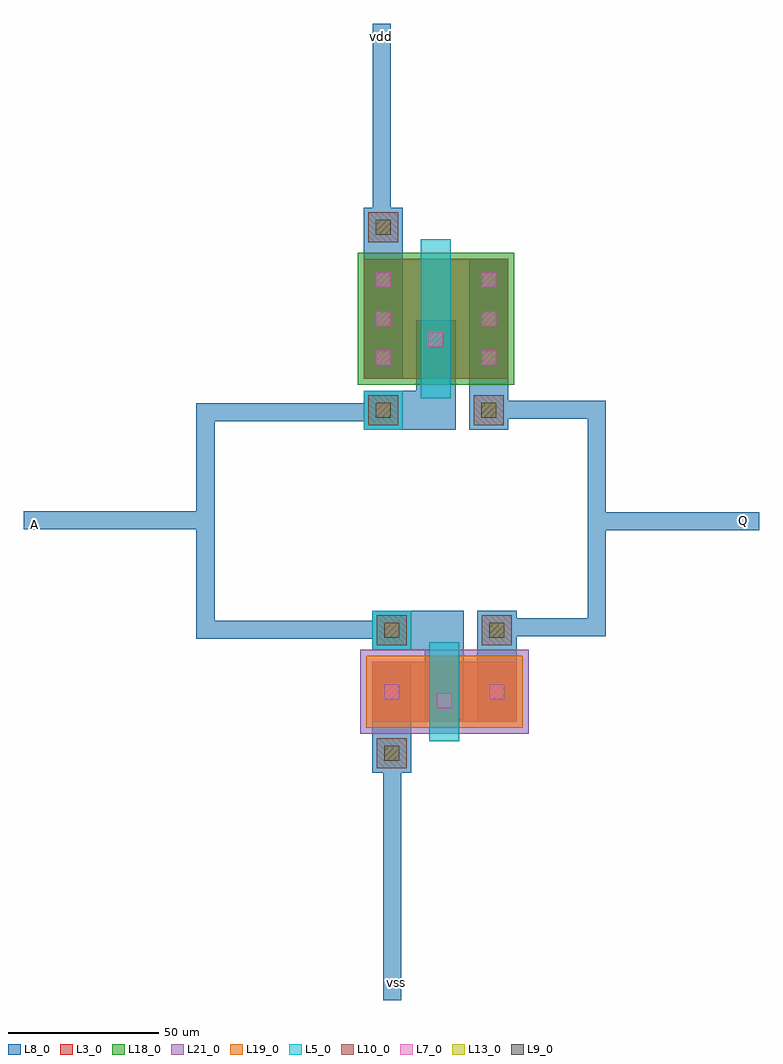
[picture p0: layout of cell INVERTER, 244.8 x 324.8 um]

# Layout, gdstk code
import gdstk
lib = gdstk.Library(unit=1e-6, precision=1e-07)
def R(c, l, rs):  # rectangles x0, y0, x1, y1
    for r in rs: c.add(gdstk.rectangle(r[:2], r[2:], *l))
L3_0 = (3, 0)
L5_0 = (5, 0)
L7_0 = (7, 0)
L8_0 = (8, 0)
L9_0 = (9, 0)
L10_0 = (10, 0)
L13_0 = (13, 0)
L18_0 = (18, 0)
L19_0 = (19, 0)
L21_0 = (21, 0)

dcont = lib.new_cell('dcont')
R(dcont, L3_0, [(-6.5,-6.5,6.5,6.5)])
R(dcont, L7_0, [(-2.5,-2.5,2.5,2.5)])
R(dcont, L8_0, [(-6.5,-6.5,6.5,6.5)])

pcont = lib.new_cell('pcont')
R(pcont, L5_0, [(-6.5,-6.5,6.5,6.5)])
R(pcont, L7_0, [(-2.5,-2.5,2.5,2.5)])
R(pcont, L8_0, [(-6.5,-6.5,6.5,6.5)])
R(pcont, L13_0, [(-2.5,-2.5,2.5,2.5)])

via = lib.new_cell('Via')
R(via, L8_0, [(-6.5,-6.5,6.5,6.5)])
R(via, L9_0, [(-2.5,-2.5,2.5,2.5)])
R(via, L10_0, [(-5,-5,5,5)])
R(via, L13_0, [(-2.5,-2.5,2.5,2.5)])

pch_1 = lib.new_cell('Pch$1')
R(pch_1, L3_0, [(0,17,48,57)])
R(pch_1, L18_0, [(-2,15,50,59)])
pch_1.add(gdstk.FlexPath([(6.5,17),(6.5,57)], 13, ends="flush", simple_path=True, layer=8, datatype=0))  # L8_0
pch_1.add(gdstk.FlexPath([(41.5,17),(41.5,57)], 13, ends="flush", simple_path=True, layer=8, datatype=0))  # L8_0
pch_1.add(gdstk.FlexPath([(6.5,6.5),(24,6.5),(24,10.5)], 13, ends="flush", simple_path=True, layer=8, datatype=0))  # L8_0
pch_1.add(gdstk.FlexPath([(6.5,53),(6.5,67.5)], 13, ends="flush", simple_path=True, layer=8, datatype=0))  # L8_0
pch_1.add(gdstk.FlexPath([(24,6.5),(24,36.5)], 13, ends="flush", simple_path=True, layer=8, datatype=0))  # L8_0
pch_1.add(gdstk.FlexPath([(41.5,9),(41.5,21)], 13, ends="flush", simple_path=True, layer=8, datatype=0))  # L8_0
pch_1.add(gdstk.FlexPath([(24,17),(24,57)], 10, ends=(6.5, 6.5), simple_path=True, layer=5, datatype=0))  # L5_0
pch_1.add(gdstk.Reference(dcont, (6.5,24)))
pch_1.add(gdstk.Reference(dcont, (6.5,37)))
pch_1.add(gdstk.Reference(dcont, (6.5,50)))
pch_1.add(gdstk.Reference(dcont, (41.5,24)))
pch_1.add(gdstk.Reference(dcont, (41.5,37)))
pch_1.add(gdstk.Reference(dcont, (41.5,50)))
pch_1.add(gdstk.Reference(pcont, (6.5,6.5)))
pch_1.add(gdstk.Reference(via, (6.5,6.5)))
pch_1.add(gdstk.Reference(via, (6.5,67.5)))
pch_1.add(gdstk.Reference(dcont, (24,30)))
pch_1.add(gdstk.Reference(via, (41.5,6.5)))

nch = lib.new_cell('Nch')
R(nch, L3_0, [(0,17,48,37)])
R(nch, L19_0, [(-2,15,50,39)])
R(nch, L21_0, [(-4,13,52,41)])
nch.add(gdstk.FlexPath([(6.5,17),(6.5,37)], 13, ends="flush", simple_path=True, layer=8, datatype=0))  # L8_0
nch.add(gdstk.FlexPath([(41.5,17),(41.5,37)], 13, ends="flush", simple_path=True, layer=8, datatype=0))  # L8_0
nch.add(gdstk.FlexPath([(6.5,47.5),(24,47.5),(24,43.5)], 13, ends="flush", simple_path=True, layer=8, datatype=0))  # L8_0
nch.add(gdstk.FlexPath([(6.5,6.5),(6.5,21)], 13, ends="flush", simple_path=True, layer=8, datatype=0))  # L8_0
nch.add(gdstk.FlexPath([(24,17.5),(24,47.5)], 13, ends="flush", simple_path=True, layer=8, datatype=0))  # L8_0
nch.add(gdstk.FlexPath([(41.5,33),(41.5,46.5)], 13, ends="flush", simple_path=True, layer=8, datatype=0))  # L8_0
nch.add(gdstk.FlexPath([(24,17),(24,37)], 10, ends=(6.5, 6.5), simple_path=True, layer=5, datatype=0))  # L5_0
nch.add(gdstk.Reference(dcont, (6.5,27)))
nch.add(gdstk.Reference(dcont, (41.5,27)))
nch.add(gdstk.Reference(pcont, (6.5,47.5)))
nch.add(gdstk.Reference(via, (6.5,47.5)))
nch.add(gdstk.Reference(via, (6.5,6.5)))
nch.add(gdstk.Reference(dcont, (24,24)))
nch.add(gdstk.Reference(via, (41.5,47.5)))

inverter = lib.new_cell('INVERTER')
inverter.add(gdstk.FlexPath([(-100.7,20.3),(-39.5,20.3)], 6, ends="flush", simple_path=True, layer=8, datatype=0))  # L8_0
inverter.add(gdstk.FlexPath([(23,56.3),(-40.2,56.3),(-40.2,-16.1),(26.6,-16.1)], 6, ends="flush", simple_path=True, layer=8, datatype=0))  # L8_0
inverter.add(gdstk.FlexPath([(50.4,57.2),(90,57.2),(90,-15.2),(52.8,-15.2)], 6, ends="flush", simple_path=True, layer=8, datatype=0))  # L8_0
inverter.add(gdstk.FlexPath([(90.6,20),(144.1,20)], 6, ends="flush", simple_path=True, layer=8, datatype=0))  # L8_0
inverter.add(gdstk.FlexPath([(22,-56.7),(22,-139.3)], 6, ends="flush", simple_path=True, layer=8, datatype=0))  # L8_0
inverter.add(gdstk.FlexPath([(18.5,117.3),(18.5,185.5)], 6, ends="flush", simple_path=True, layer=8, datatype=0))  # L8_0
inverter.add(gdstk.Reference(pch_1, (12.5,50.4)))
inverter.add(gdstk.Reference(nch, (15.3,-63.7)))
inverter.add(gdstk.Label('vdd', (18.5,181.5), layer=8, texttype=0))
inverter.add(gdstk.Label('A', (-97.1,19.1), layer=8, texttype=0))
inverter.add(gdstk.Label('Q', (138.9,20.2), layer=8, texttype=0))
inverter.add(gdstk.Label('vss', (23.3,-133.6), layer=8, texttype=0))

lib.write_gds('INVERTER.gds')
